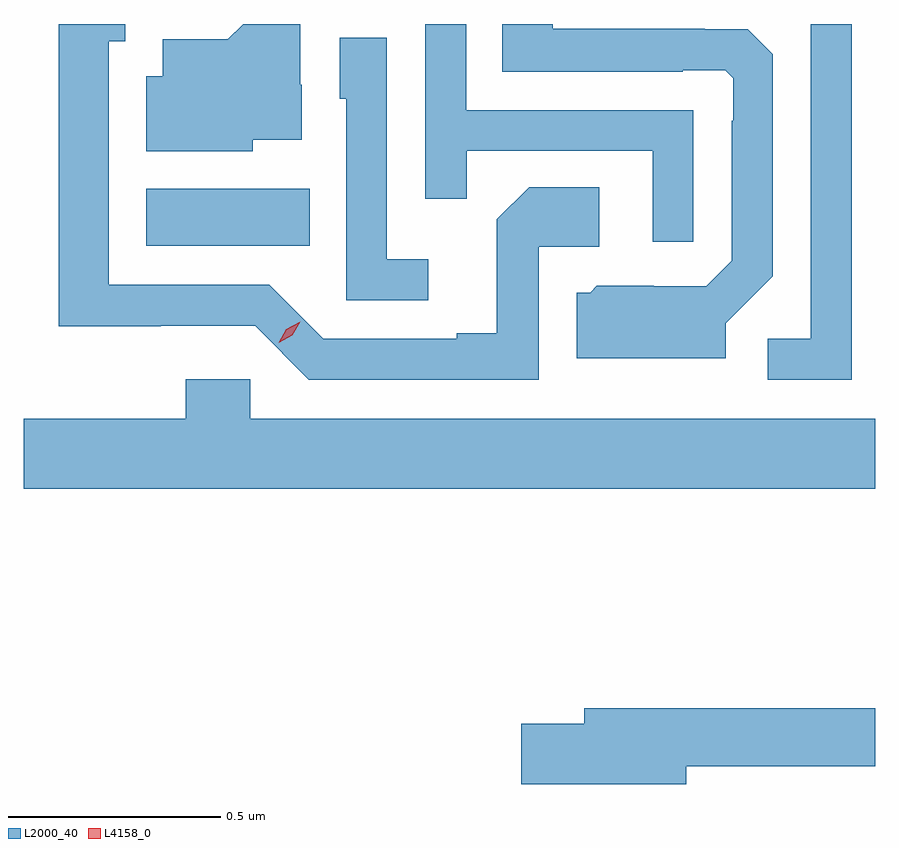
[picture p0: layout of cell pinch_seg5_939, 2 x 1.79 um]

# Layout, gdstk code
import gdstk
lib = gdstk.Library(unit=1e-6, precision=1e-09)
def R(c, l, rs):  # rectangles x0, y0, x1, y1
    for r in rs: c.add(gdstk.rectangle(r[:2], r[2:], *l))
def P(c, l, *ps):  # polygons
    for p in ps: c.add(gdstk.Polygon(p, *l))
L2000_40 = (2000, 40)
L4158_0 = (4158, 0)

pinch_seg5_939 = lib.new_cell('pinch_seg5_939')
R(pinch_seg5_939, L2000_40, [(750.092,894.626,750.476,894.76)])
P(pinch_seg5_939, L2000_40, [(750.342,894.875),(750.457,894.875),(750.457,895.004),(750.453,895.004),(750.453,895.146),(750.454,895.147),(750.319,895.147),(750.283,895.111),(750.131,895.111),(750.131,895.024),(750.092,895.024),(750.092,894.848),(750.342,894.848)],
  [(751.377,894.945),(750.843,894.945),(750.843,895.147),(750.747,895.147),(750.747,894.736),(750.845,894.736),(750.845,894.849),(751.281,894.849),(751.281,894.636),(751.377,894.636)],
  [(751.453,894.444),(751.563,894.554),(751.563,895.076),(751.504,895.135),(751.403,895.135),(751.403,895.136),(751.047,895.136),(751.047,895.147),(750.928,895.147),(750.928,895.035),(751.352,895.035),(751.352,895.038),(751.452,895.038),(751.47,895.02),(751.47,894.92),(751.467,894.92),(751.467,894.591),(751.407,894.531),(751.284,894.531),(751.284,894.532),(751.15,894.532),(751.134,894.516),(751.103,894.516),(751.103,894.362),(751.453,894.362)],
  [(751.014,894.624),(751.156,894.624),(751.156,894.764),(750.991,894.764),(750.915,894.688),(750.915,894.421),(750.821,894.421),(750.821,894.408),(750.507,894.408),(750.381,894.534),(750.004,894.534),(750.004,895.107),(750.043,895.107),(750.043,895.147),(749.886,895.147),(749.886,894.437),(750.126,894.437),(750.126,894.438),(750.348,894.438),(750.474,894.312),(751.014,894.312)],
  [(751.749,895.147),(751.653,895.147),(751.653,894.408),(751.551,894.408),(751.551,894.312),(751.749,894.312)],
  [(750.754,894.595),(750.657,894.595),(750.657,895.115),(750.546,895.115),(750.546,894.972),(750.561,894.972),(750.561,894.498),(750.754,894.498)],
  [(751.804,894.22),(750.336,894.22),(750.336,894.313),(750.185,894.313),(750.185,894.22),(749.804,894.22),(749.804,894.056),(751.804,894.056)],
  [(751.36,893.404),(751.804,893.404),(751.804,893.54),(751.121,893.54),(751.121,893.504),(750.972,893.504),(750.972,893.362),(751.36,893.362)])
P(pinch_seg5_939, L4158_0, [(750.403,894.398),(750.403,894.398),(750.421,894.43),(750.453,894.448),(750.453,894.448),(750.453,894.448),(750.435,894.416),(750.403,894.398)])

lib.write_gds('pinch_seg5_939.gds')
